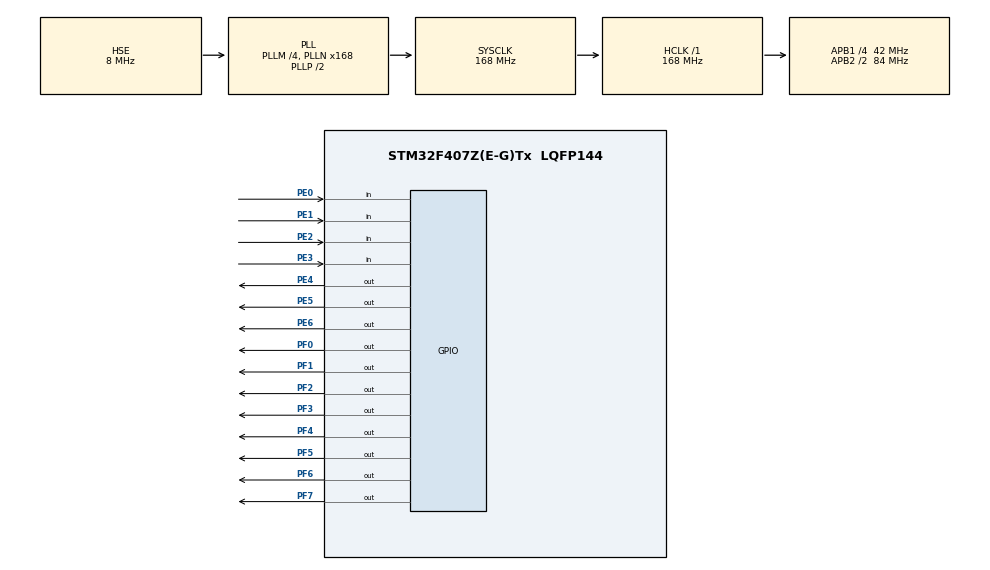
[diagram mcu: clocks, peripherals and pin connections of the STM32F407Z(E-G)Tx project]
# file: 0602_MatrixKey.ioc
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Mcu.Family=STM32F4
Mcu.Name=STM32F407Z(E-G)Tx
Mcu.Package=LQFP144
NVIC.PriorityGroup=NVIC_PRIORITYGROUP_4
PA13.Mode=Serial_Wire
PA13.Signal=SYS_JTMS-SWDIO
PA14.Mode=Serial_Wire
PA14.Signal=SYS_JTCK-SWCLK
PC14-OSC32_IN.Mode=LSE-External-Oscillator
PC14-OSC32_IN.Signal=RCC_OSC32_IN
PC15-OSC32_OUT.Mode=LSE-External-Oscillator
PC15-OSC32_OUT.Signal=RCC_OSC32_OUT
PE0.GPIO_PuPd=GPIO_PULLUP
PE0.Signal=GPIO_Input
PE1.GPIO_Mode=GPIO_MODE_INPUT
PE1.GPIO_PuPd=GPIO_PULLUP
PE1.Signal=GPIO_Input
PE2.GPIO_Mode=GPIO_MODE_INPUT
PE2.GPIO_PuPd=GPIO_PULLUP
PE2.Signal=GPIO_Input
PE3.GPIO_Mode=GPIO_MODE_INPUT
PE3.GPIO_PuPd=GPIO_PULLUP
PE3.Signal=GPIO_Input
PE4.GPIO_ModeDefaultOutputPP=GPIO_MODE_OUTPUT_PP
PE4.GPIO_PuPd=GPIO_NOPULL
PE4.GPIO_Speed=GPIO_SPEED_FREQ_LOW
PE4.PinState=GPIO_PIN_SET
PE4.Signal=GPIO_Output
PE5.GPIO_ModeDefaultOutputPP=GPIO_MODE_OUTPUT_PP
PE5.GPIO_PuPd=GPIO_NOPULL
PE5.GPIO_Speed=GPIO_SPEED_FREQ_LOW
PE5.PinState=GPIO_PIN_SET
PE5.Signal=GPIO_Output
PE6.GPIO_ModeDefaultOutputPP=GPIO_MODE_OUTPUT_PP
PE6.GPIO_PuPd=GPIO_NOPULL
PE6.GPIO_Speed=GPIO_SPEED_FREQ_LOW
PE6.PinState=GPIO_PIN_SET
PE6.Signal=GPIO_Output
PF0.GPIO_ModeDefaultOutputPP=GPIO_MODE_OUTPUT_PP
PF0.GPIO_PuPd=GPIO_NOPULL
PF0.GPIO_Speed=GPIO_SPEED_FREQ_LOW
PF0.PinState=GPIO_PIN_SET
PF0.Signal=GPIO_Output
PF1.GPIO_ModeDefaultOutputPP=GPIO_MODE_OUTPUT_PP
PF1.GPIO_PuPd=GPIO_NOPULL
PF1.GPIO_Speed=GPIO_SPEED_FREQ_LOW
PF1.PinState=GPIO_PIN_SET
PF1.Signal=GPIO_Output
PF2.GPIO_ModeDefaultOutputPP=GPIO_MODE_OUTPUT_PP
PF2.GPIO_PuPd=GPIO_NOPULL
PF2.GPIO_Speed=GPIO_SPEED_FREQ_LOW
PF2.PinState=GPIO_PIN_SET
PF2.Signal=GPIO_Output
PF3.GPIO_ModeDefaultOutputPP=GPIO_MODE_OUTPUT_PP
PF3.GPIO_PuPd=GPIO_NOPULL
PF3.GPIO_Speed=GPIO_SPEED_FREQ_LOW
PF3.PinState=GPIO_PIN_SET
PF3.Signal=GPIO_Output
PF4.GPIO_ModeDefaultOutputPP=GPIO_MODE_OUTPUT_PP
PF4.GPIO_PuPd=GPIO_NOPULL
PF4.GPIO_Speed=GPIO_SPEED_FREQ_LOW
PF4.PinState=GPIO_PIN_SET
PF4.Signal=GPIO_Output
PF5.GPIO_ModeDefaultOutputPP=GPIO_MODE_OUTPUT_PP
PF5.GPIO_PuPd=GPIO_NOPULL
PF5.GPIO_Speed=GPIO_SPEED_FREQ_LOW
PF5.PinState=GPIO_PIN_SET
PF5.Signal=GPIO_Output
PF6.GPIO_ModeDefaultOutputPP=GPIO_MODE_OUTPUT_PP
PF6.GPIO_PuPd=GPIO_NOPULL
PF6.GPIO_Speed=GPIO_SPEED_FREQ_LOW
PF6.PinState=GPIO_PIN_SET
PF6.Signal=GPIO_Output
PF7.GPIO_ModeDefaultOutputPP=GPIO_MODE_OUTPUT_PP
PF7.GPIO_PuPd=GPIO_NOPULL
PF7.GPIO_Speed=GPIO_SPEED_FREQ_LOW
PF7.PinState=GPIO_PIN_SET
PF7.Signal=GPIO_Output
PH0-OSC_IN.Mode=HSE-External-Oscillator
PH0-OSC_IN.Signal=RCC_OSC_IN
PH1-OSC_OUT.Mode=HSE-External-Oscillator
PH1-OSC_OUT.Signal=RCC_OSC_OUT
ProjectManager.HeapSize=0x200
ProjectManager.StackSize=0x400
ProjectManager.TargetToolchain=MDK-ARM V5.32
RCC.48MHZClocksFreq_Value=84000000
RCC.AHBFreq_Value=168000000
RCC.APB1CLKDivider=RCC_HCLK_DIV4
RCC.APB1Freq_Value=42000000
RCC.APB1TimFreq_Value=84000000
RCC.APB2CLKDivider=RCC_HCLK_DIV2
RCC.APB2Freq_Value=84000000
RCC.APB2TimFreq_Value=168000000
RCC.CortexFreq_Value=168000000
RCC.HCLKFreq_Value=168000000
RCC.HSE_VALUE=8000000
RCC.HSI_VALUE=16000000
RCC.PLLM=4
RCC.PLLN=168
RCC.PLLSourceVirtual=RCC_PLLSOURCE_HSE
RCC.SYSCLKFreq_VALUE=168000000
RCC.SYSCLKSource=RCC_SYSCLKSOURCE_PLLCLK
RCC.VCOOutputFreq_Value=336000000
board=custom

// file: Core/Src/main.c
/* USER CODE BEGIN Header */
/**
  ******************************************************************************
  * @file           : main.c
  * @brief          : Main program body
  ******************************************************************************
  * @attention
  *
  * Copyright (c) 2026 STMicroelectronics.
  * All rights reserved.
  *
  * This software is licensed under terms that can be found in the LICENSE file
  * in the root directory of this software component.
  * If no LICENSE file comes with this software, it is provided AS-IS.
  *
  ******************************************************************************
  */
/* USER CODE END Header */
#include "main.h"
#include "gpio.h"

void SystemClock_Config(void);

/* USER CODE BEGIN 0 */
uint8_t row, col, key_num;
/* USER CODE END 0 */

int main(void)
{

  /* MCU Configuration--------------------------------------------------------*/

  /* Reset of all peripherals, Initializes the Flash interface and the Systick. */
  HAL_Init();

  /* Configure the system clock */
  SystemClock_Config();

  /* Initialize all configured peripherals */
  MX_GPIO_Init();

  /* Infinite loop */
  while (1)
  {

    /* USER CODE BEGIN 3 */
		// ?????(PE4 PE5 PE6)??
GPIOE->ODR |= (7U << 4);

for (col = 0; col < 3; col++)
{
    // ???????
    GPIOE->ODR &= ~(1U << (4 + col));
    HAL_Delay(5);

    // ????: PE0 ~ PE3
    row = (GPIOE->IDR & 0x0F);

    if (row != 0x0F)
    {
        // ??????
        switch (row)
        {
            case 0x0E: row = 0; break;
            case 0x0D: row = 1; break;
            case 0x0B: row = 2; break;
            case 0x07: row = 3; break;
            default:   row = 0xFF;
        }

        if (row != 0xFF)
        {
            // ?????
            key_num = row * 3 + col + 1;
            if (key_num > 12)
                key_num = 0;

            // PF0 ~ PF7 ??,?????
            GPIOF->ODR = ~key_num;
        }
    }

    // ??:????????
    GPIOE->ODR |= (1U << (4 + col));
}
  }
  /* USER CODE END 3 */
}

void SystemClock_Config(void)
{
  RCC_OscInitTypeDef RCC_OscInitStruct = {0};
  RCC_ClkInitTypeDef RCC_ClkInitStruct = {0};

  /** Configure the main internal regulator output voltage
  */
  __HAL_RCC_PWR_CLK_ENABLE();
  __HAL_PWR_VOLTAGESCALING_CONFIG(PWR_REGULATOR_VOLTAGE_SCALE1);

  /** Initializes the RCC Oscillators according to the specified parameters
  * in the RCC_OscInitTypeDef structure.
  */
  RCC_OscInitStruct.OscillatorType = RCC_OSCILLATORTYPE_HSE;
  RCC_OscInitStruct.HSEState = RCC_HSE_ON;
  RCC_OscInitStruct.PLL.PLLState = RCC_PLL_ON;
  RCC_OscInitStruct.PLL.PLLSource = RCC_PLLSOURCE_HSE;
  RCC_OscInitStruct.PLL.PLLM = 4;
  RCC_OscInitStruct.PLL.PLLN = 168;
  RCC_OscInitStruct.PLL.PLLP = RCC_PLLP_DIV2;
  RCC_OscInitStruct.PLL.PLLQ = 4;
  if (HAL_RCC_OscConfig(&RCC_OscInitStruct) != HAL_OK)
  {
    Error_Handler();
  }

  /** Initializes the CPU, AHB and APB buses clocks
  */
  RCC_ClkInitStruct.ClockType = RCC_CLOCKTYPE_HCLK|RCC_CLOCKTYPE_SYSCLK
                              |RCC_CLOCKTYPE_PCLK1|RCC_CLOCKTYPE_PCLK2;
  RCC_ClkInitStruct.SYSCLKSource = RCC_SYSCLKSOURCE_PLLCLK;
  RCC_ClkInitStruct.AHBCLKDivider = RCC_SYSCLK_DIV1;
  RCC_ClkInitStruct.APB1CLKDivider = RCC_HCLK_DIV4;
  RCC_ClkInitStruct.APB2CLKDivider = RCC_HCLK_DIV2;

  if (HAL_RCC_ClockConfig(&RCC_ClkInitStruct, FLASH_LATENCY_5) != HAL_OK)
  {
    Error_Handler();
  }
}

void Error_Handler(void)
{
  __disable_irq();
  while (1)
  {
  }
}
